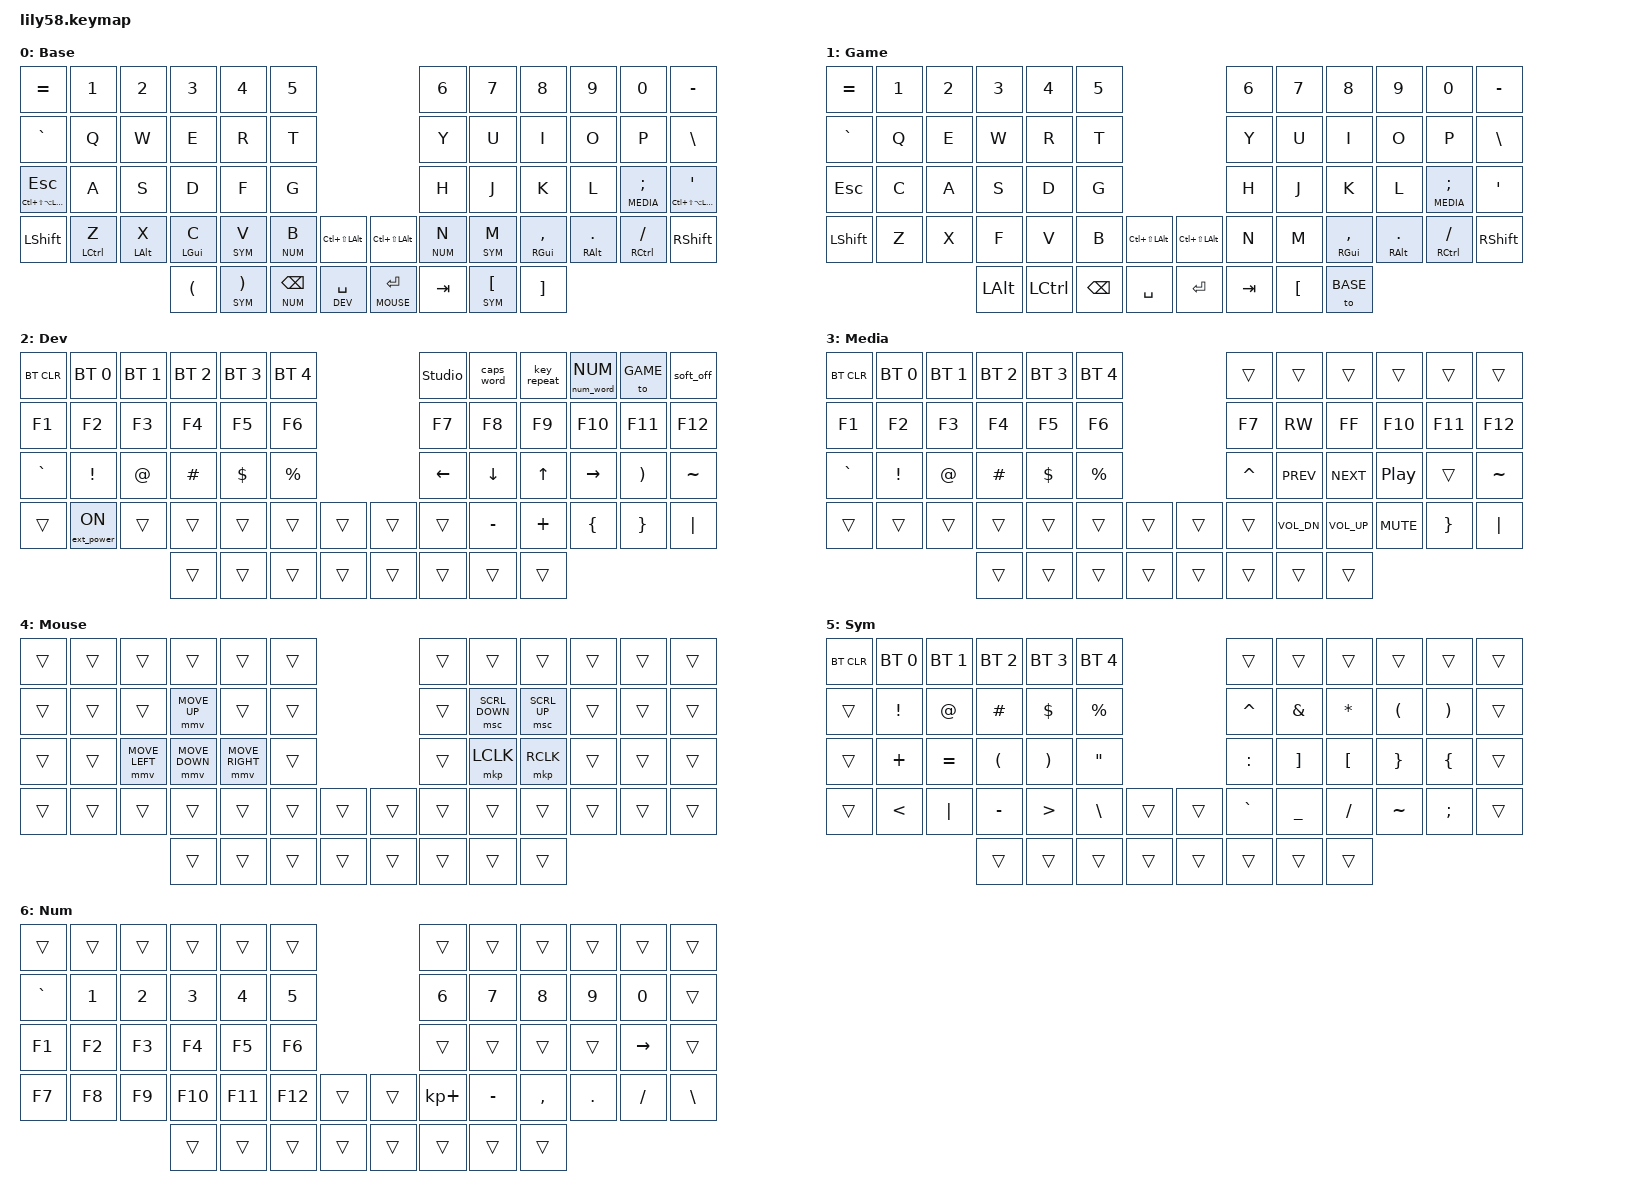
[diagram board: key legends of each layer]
/*
 * Copyright (c) 2020 The ZMK Contributors
 *
 * SPDX-License-Identifier: MIT
 */

/*
 * Allium58 (lily58 shield) -- kept deliberately in sync with the QMK
 * dactyl_manuform 5x6 keymap in blakedietz/qmk_userspace.
 *
 * WHY THE TWO DIVERGE AT ALL: the dactyl's LAYOUT_5x6 is 64 keys (32 a side:
 * 4 rows of 6, plus 2 inner, plus 6 thumb), this board is 58 (29 a side: 3
 * rows of 6, a row of 7, plus 4 thumb). The 6-key deficit understates it --
 * the grid actually GAINS one key a side here, and the whole loss lands on
 * the thumbs, 8 a side down to 4. That is the source of nearly every
 * difference below: symbols and numbers live on the dactyl's base layer but
 * need layers of their own here, and the layer taps that the dactyl parks on
 * dedicated thumb keys have to ride on letters and existing thumbs instead.
 *
 * QMK feature -> ZMK equivalent, so the two configs can be reasoned about
 * together:
 *
 *   CHORDAL_HOLD              -> hold-trigger-key-positions PLUS
 *                                hold-trigger-on-release on hml/hmr (both
 *                                express "only hold if the key that follows
 *                                is on the other hand"; the second property
 *                                is what also allows same-hand mod stacks)
 *   FLOW_TAP_TERM 150         -> require-prior-idle-ms = <125>
 *   QUICK_TAP_TERM (on by     -> quick-tap-ms (OFF by default in ZMK --
 *     default in QMK)            this is why backspace needed ltq below)
 *   MOUSEKEY_* speed tuning   -> not a keymap concern in ZMK; set on the
 *                                input listener / CONFIG_ZMK_POINTING
 *
 * FORMATTING: the bindings grids below are aligned by qmk.nvim on save
 * (variant = "zmk"); the 14-column lily58 layout lives in
 * lua/plugins/qmk.nvim.lua in the nvim config. It rewrites each
 * `bindings = < ... >` block from the parsed behaviors, so a commented-out
 * binding INSIDE one of those blocks is dropped on save -- comment things
 * out between the layer nodes instead, as these blocks do.
 * Outside Neovim: nvim --headless config/lily58.keymap -c 'write' -c 'qa'
 */

#include <behaviors.dtsi>
#include <dt-bindings/zmk/keys.h>
#include <dt-bindings/zmk/bt.h>
#include <dt-bindings/zmk/ext_power.h>
#include <dt-bindings/zmk/pointing.h>

/*
 * &num_word -- from the zmk-auto-layer module (see config/west.yml). Not part
 * of upstream ZMK, so this include only resolves once that module is in the
 * manifest. Its shipped definition is:
 *
 *   continue-list = <BACKSPACE DELETE DOT COMMA PLUS MINUS STAR FSLH EQUAL>;
 *   ignore-numbers;
 *
 * overridden just below.
 */
#include <behaviors/num_word.dtsi>

#define HYPER LC(LS(LA(LGUI)))
#define MEH   LC(LS(LALT))

/*
 * DECISION: layers 0-4 are a 1:1 mirror of QMK -- same names AND same
 * indices -- so the two keymaps can be read side by side without a
 * translation table:
 *
 *     QMK _BASE  0 == BASE  0        QMK _MEDIA 3 == MEDIA 3
 *     QMK _GAME  1 == GAME  1        QMK _MOUSE 4 == MOUSE 4
 *     QMK _DEV   2 == DEV   2
 *
 * SYM and NUM have no QMK counterpart, so they are appended at 5-6 rather
 * than interleaved -- that keeps the shared indices stable if either side
 * grows a layer later.
 *
 * NOTE: in ZMK the layer index is the ORDER OF THE NODES in the keymap
 * block below, not the value of these defines. The two must be kept in
 * agreement by hand; the defines are only names for the bindings.
 */
#define BASE  0
#define GAME  1
#define DEV   2
#define MEDIA 3
#define MOUSE 4
#define SYM   5
#define NUM   6

/*
 * DECISION: the global &lt override sets tapping-term ONLY -- deliberately
 * no quick-tap-ms here. Space is `&lt DEV SPACE`, and a global quick-tap
 * would force a literal space (swallowing the DEV layer) any time the key
 * is held within quick-tap-ms of the previous space. Keys that genuinely
 * want quick-tap opt in via &ltq instead.
 */
&lt {
    tapping-term-ms = <200>;
};

/*
 * DECISION: soft-off must be HELD, not tapped. It sits on the DEV layer,
 * and DEV is reached by holding space (`&lt DEV SPACE`) -- so any stray
 * hold-space + keypress was one tap away from powering the board down.
 * hold-time-ms means the key has to be held the full duration before the
 * release triggers; a bumped tap does nothing.
 */
&soft_off {
    hold-time-ms = <5000>;
};

/*
 * DECISION: KP_PLUS added to the stock continue-list. The module's default
 * list carries PLUS (= LS(EQUAL)), but NUM position 44 is `&kp KP_PLUS` --
 * the KEYPAD plus, a different HID usage entirely. Without this line, typing
 * `12+34` would drop out of the layer the instant you hit +.
 *
 * The rest of the stock list is kept as-is and all of it is reachable, some
 * of it by fall-through: NUM leaves position 0 as &trans, so EQUAL comes from
 * BASE, and STAR/PLUS resolve as shifted N8/EQUAL (the behavior tests implicit
 * modifiers, so the shifted forms match).
 *
 * NOT added: SPACE, RET, TAB. Those are how you LEAVE the layer.
 */
&num_word {
    continue-list = <BACKSPACE DELETE DOT COMMA PLUS KP_PLUS MINUS STAR FSLH EQUAL>;
};

/ {

    behaviors {
        /*
         * hml / hmr -- home row mods. Together these are ZMK's answer to
         * QMK's CHORDAL_HOLD: a mod only engages if the key that FOLLOWS is
         * on the opposite hand, so same-hand rolls like `zx` emit letters
         * instead of Ctrl-X. QMK derives handedness from the matrix half
         * (see chordal_hold_handedness() in keymap.c); ZMK has no such
         * helper, so the opposite hand is enumerated by key position.
         *
         * require-prior-idle-ms = 125 mirrors QMK's FLOW_TAP_TERM 150: if
         * you were already typing, the key resolves as a tap immediately
         * and never as a mod.
         *
         * DECISION: hold-trigger-on-release is the other half of
         * CHORDAL_HOLD, and without it these were NOT equivalent. Bare
         * hold-trigger-key-positions decides at PRESS time, so holding
         * `&hml LGUI C` and then reaching for `&hml LALT X` -- both left
         * hand, so 38 is not in C's list -- resolved C to a literal `c` the
         * instant X went down. That made every same-hand mod STACK
         * unreachable: Cmd+Opt+I, Ctrl+Alt+Del, and Hyper (on ESC/SQT)
         * plus any other mod on its own hand. Only Ctrl+Shift survived,
         * and only because Shift is a plain &kp rather than a hold-tap.
         *
         * Setting it defers the decision for non-listed keys to RELEASE
         * instead, so the pair waits to see whether an opposite-hand key
         * eventually follows -- which is what QMK does natively. The idle
         * guard above is what keeps the deferral from costing anything
         * while typing: a mid-word roll has already been forced to a tap
         * before this ever applies, so it only governs deliberate chords.
         */
        hml: home_row_mod_left {
            compatible = "zmk,behavior-hold-tap";
            #binding-cells = <2>;
            quick-tap-ms = <200>;
            require-prior-idle-ms = <125>;
            tapping-term-ms = <200>;
            flavor = "balanced";
            bindings = <&kp>, <&kp>;
            // right hand (6-11,18-23,30-35,43-49) + both thumb clusters (50-57)
            hold-trigger-key-positions = <6 7 8 9 10 11 18 19 20 21 22 23 30 31 32 33 34 35 43 44 45 46 47 48 49 50 51 52 53 54 55 56 57>;
            hold-trigger-on-release;
        };

        hmr: home_row_mod_right {
            compatible = "zmk,behavior-hold-tap";
            #binding-cells = <2>;
            quick-tap-ms = <200>;
            require-prior-idle-ms = <125>;
            tapping-term-ms = <200>;
            flavor = "balanced";
            bindings = <&kp>, <&kp>;
            // left hand (0-5,12-17,24-29,36-42) + both thumb clusters (50-57)
            hold-trigger-key-positions = <0 1 2 3 4 5 12 13 14 15 16 17 24 25 26 27 28 29 36 37 38 39 40 41 42 50 51 52 53 54 55 56 57>;
            hold-trigger-on-release;
        };

        /*
         * rpl -- same idle guard as the home row mods, but the hold engages
         * a LAYER instead of a modifier. Used for the layer taps that sit on
         * letter keys, where a stray hold mid-word would be most disruptive.
         */
        rpl: require_prior_idle_layer {
            compatible = "zmk,behavior-hold-tap";
            #binding-cells = <2>;
            quick-tap-ms = <200>;
            require-prior-idle-ms = <125>;
            tapping-term-ms = <200>;
            flavor = "balanced";
            bindings = <&mo>, <&kp>;
        };

        /*
         * ltq -- identical to the built-in &lt (tap-preferred, 200ms term)
         * but with quick-tap enabled. Tap the key, then press it again
         * within quick-tap-ms and the SECOND press is forced to the tap
         * behavior and held down, so the host's key repeat streams the
         * keycode instead of the layer engaging.
         *
         * This is ZMK's equivalent of QMK's QUICK_TAP_TERM -- the
         * tap-then-tap-and-hold trick for backspace. QMK enables it by
         * default; ZMK's quick-tap-ms defaults to -1 (disabled), which is
         * why this had to be spelled out.
         *
         * DECISION: no require-prior-idle-ms here, unlike rpl above. Idle
         * guarding would force a tap whenever you reach for the key right
         * after typing -- which for backspace is precisely the common case,
         * and would make the layer hold unreachable.
         */
        ltq: layer_tap_quick {
            compatible = "zmk,behavior-hold-tap";
            #binding-cells = <2>;
            quick-tap-ms = <200>;
            tapping-term-ms = <200>;
            flavor = "tap-preferred";
            bindings = <&mo>, <&kp>;
        };

        /*
         * htl -- hold-to-switch-layer, for the LBKT+RBKT combos below. A
         * combo fires the instant its keys go down, and `&to` is a sticky,
         * whole-left-hand change in either direction; firing one on a fast
         * `[]` roll -- or dropping out of GAME mid-fight -- would be
         * miserable. Wrapping it in a hold-tap means the combo only commits
         * after the keys are held the full term.
         *
         * DECISION: tap-preferred, not hold-preferred. hold-preferred
         * resolves to the hold as soon as ANY other key is pressed, which
         * would re-open exactly the accident this is meant to prevent --
         * only the timer may decide. The tap side is &none (dummy param 0
         * in the keymap): a quick both-press is a no-op, not a stray key.
         */
        htl: hold_to_layer {
            compatible = "zmk,behavior-hold-tap";
            #binding-cells = <2>;
            tapping-term-ms = <400>;
            flavor = "tap-preferred";
            bindings = <&to>, <&none>;
        };
    };

    /*
     * LBKT + RBKT (positions 56/57, the two outer right thumbs) held
     * together toggles between BASE and GAME -- the SAME gesture in both
     * directions, so it is one thumb position to remember rather than a
     * chord in and a different key out.
     *
     * `&to GAME` on DEV's top row still stands as the discoverable route in;
     * these combos are the fast ones. The dactyl has a spare thumb key for
     * TO(_GAME) and this board does not, which is why DEV carried it at all.
     *
     * DECISION: two nodes scoped with `layers`, not one unscoped combo. The
     * binding has to differ by direction (&to GAME vs &to BASE), and an
     * unscoped combo would also fire on DEV/MEDIA/SYM/NUM where these
     * positions are &trans.
     *
     * DECISION: `&to BASE` STAYS on GAME position 57 as a single-tap escape
     * hatch, so the combo is not the only way out of a layer that has no
     * other layer access at all. Drop it to &kp RBKT once the combo is
     * confirmed working on hardware, if the plain key is wanted back.
     *
     * DECISION: require-prior-idle-ms on the BASE->GAME direction only. On
     * BASE these keys are `[` and `]`, so the idle guard is what keeps a
     * typed `[]` roll out of the combo; 50ms then means anything surviving
     * that has to be a deliberate simultaneous press. On GAME the same guard
     * would be actively wrong -- you are pressing keys constantly, so it
     * would make the way out unreachable exactly when it is wanted. The
     * 400ms hold in &htl above is the backstop in both directions.
     */
    combos {
        compatible = "zmk,combos";

        combo_game {
            bindings = <&htl GAME 0>;
            key-positions = <56 57>;
            layers = <BASE>;
            timeout-ms = <50>;
            require-prior-idle-ms = <125>;
        };

        combo_base {
            bindings = <&htl BASE 0>;
            key-positions = <56 57>;
            layers = <GAME>;
            timeout-ms = <50>;
        };
    };

    keymap {
        compatible = "zmk,keymap";

        /*
         * Layer 0 -- QMK _BASE.
         *
         * display-name is what the nice_view OLED and ZMK Studio show
         * (CONFIG_ZMK_DISPLAY=y, and the left half builds with
         * -DCONFIG_ZMK_STUDIO=y), so these strings are user-facing, not
         * just documentation.
         *
         * THUMB ROW, against the dactyl's right thumb cluster:
         *
         *     QMK TGL_MOUSE = LT(_MOUSE, KC_ENT)  ==  &lt MOUSE RET
         *     QMK KC_TAB                          ==  &kp TAB
         *     QMK KC_LBRC                         ==  &lt SYM LBKT
         *     QMK KC_RBRC                         ==  &kp RBKT
         *
         * DECISION: Enter carries the mouse layer, matching QMK. Tab was
         * NOT moved to get there -- Enter was already the layer-tap in that
         * position and was simply repointed from the old RAISE layer.
         *
         * DECISION: Enter stays on plain &lt, not &ltq. Backspace wants
         * tap-then-hold repeat; a repeating Enter key is mostly a way to
         * fire off blank lines by accident. Swap to `&ltq MOUSE RET` if
         * that turns out to be wanted.
         *
         * The SYM hold on LBKT has no QMK counterpart -- it is one of the
         * layer taps this board needs and the dactyl does not.
         */
        base_layer {
            display-name = "Base";
            bindings = <
  &kp EQUAL        &kp N1         &kp N2        &kp N3        &kp N4         &kp N5                                          &kp N6       &kp N7         &kp N8            &kp N9          &kp N0            &kp MINUS
  &kp GRAVE        &kp Q          &kp W         &kp E         &kp R          &kp T                                           &kp Y        &kp U          &kp I             &kp O           &kp P             &kp BSLH
  &hml HYPER ESC   &kp A          &kp S         &kp D         &kp F          &kp G                                           &kp H        &kp J          &kp K             &kp L           &rpl MEDIA SEMI   &hmr HYPER SQT
  &kp LSHFT        &hml LCTRL Z   &hml LALT X   &hml LGUI C   &rpl SYM V     &rpl NUM B      &kp MEH         &kp MEH         &rpl NUM N   &rpl SYM M     &hmr RGUI COMMA   &hmr RALT DOT   &hmr RCTRL FSLH   &kp RSHFT
                                                &kp LPAR      &lt SYM RPAR   &ltq NUM BSPC   &lt DEV SPACE   &lt MOUSE RET   &kp TAB      &lt SYM LBKT   &kp RBKT
            >;
        };

        /*
         * Layer 1 -- QMK _GAME. Transcribed from keymap.c:45-52.
         *
         * *** THE LEFT-HAND ALPHAS ARE INTENTIONALLY REARRANGED. ***
         * *** DO NOT "CORRECT" THEM BACK TO QWERTY ORDER.        ***
         *
         * The WASD cross is shifted one column right of its QWERTY home:
         *
         *            col1(pinky) col2(ring) col3(mid) col4(index)
         *   BASE r2:     Q          W          E         R
         *   BASE r3:     A          S          D         F
         *   GAME r2:     Q          E          W         R
         *   GAME r3:     C          A          S         D
         *
         * On BASE, WASD lands on pinky/ring/middle and leaves the index
         * finger idle. On GAME it lands on ring/middle/index -- the three
         * strong fingers -- and frees the pinky for Shift. C takes the
         * vacated pinky home slot; F drops to row3 col3. The payoff is that
         * games can keep their stock WASD bindings: the ergonomics come
         * from the firmware, so no game needs individual remapping.
         *
         * Everything else follows the dactyl: home row mods and thumb
         * layer taps drop to plain keys so held keys register with no
         * tapping-term latency, and the RIGHT hand keeps its mods (as QMK
         * does) since only the left hand is on WASD.
         *
         * DECISION: entered via `&to GAME` on the DEV layer, not from BASE.
         * QMK puts TO(_GAME) on a dedicated thumb key and this board has no
         * spare one -- all 4 right thumbs are already assigned. `&to BASE`
         * on the right thumb is the way out, matching QMK's TO(_BASE).
         *
         * Both directions also have the LBKT+RBKT hold combo (positions
         * 56/57) -- see the combos node above. That is the symmetric route;
         * the `&to BASE` tap on 57 is kept as a single-key escape hatch.
         *
         * GAP: QMK puts QK_LOCK on both thumb clusters here (hold a key
         * without holding it -- lock W for auto-run, etc). ZMK has no
         * built-in equivalent; &sk covers modifiers only, not arbitrary
         * keys. Those two positions carry BSPC/SPACE and RET/TAB instead.
         */
        game_layer {
            display-name = "Game";
            bindings = <
  &kp EQUAL   &kp N1   &kp N2   &kp N3     &kp N4      &kp N5                           &kp N6    &kp N7     &kp N8            &kp N9          &kp N0            &kp MINUS
  &kp GRAVE   &kp Q    &kp E    &kp W      &kp R       &kp T                            &kp Y     &kp U      &kp I             &kp O           &kp P             &kp BSLH
  &kp ESC     &kp C    &kp A    &kp S      &kp D       &kp G                            &kp H     &kp J      &kp K             &kp L           &rpl MEDIA SEMI   &kp SQT
  &kp LSHFT   &kp Z    &kp X    &kp F      &kp V       &kp B      &kp MEH     &kp MEH   &kp N     &kp M      &hmr RGUI COMMA   &hmr RALT DOT   &hmr RCTRL FSLH   &kp RSHFT
                                &kp LALT   &kp LCTRL   &kp BSPC   &kp SPACE   &kp RET   &kp TAB   &kp LBKT   &to BASE
            >;
        };

        /*
         * Layer 2 -- QMK _DEV. Arrows on the right home row and F-keys on
         * the left, matching the dactyl.
         *
         * The board-management keys (studio_unlock, soft_off, ext_power,
         * bluetooth) are ZMK-only -- wireless concerns the dactyl does not
         * have. `&to GAME` sits here on the top row because the thumb
         * cluster is full; see the GAME layer note above.
         *
         * DECISION: only `&ext_power EP_ON` lives here -- EP_OFF and EP_TOG
         * are gone from this layer and from MEDIA. On this board the
         * switched rail (nice!nano v2 P0.13) feeds exactly one thing, the
         * nice!view, and there is no underglow to save power on. So EP_OFF
         * could only ever blank the display -- and ZMK persists ext-power
         * state to settings (`ext_power/state`), so a stray press survived
         * every reboot and the screen stayed dead until a settings_reset
         * flash. EP_ON is kept as the recovery key for exactly that case.
         *
         * soft_off moved off position 9 (a digit you hold-space past all
         * the time) to the far-right pinky, and now requires a 5s hold --
         * see the &soft_off override at the top of this file.
         *
         * `&num_word NUM` now occupies the position 9 that soft_off vacated.
         * It is the tap-once counterpart to the three HOLDS that already
         * reach NUM (`&rpl NUM B`, `&rpl NUM N`, `&ltq NUM BSPC`): tap it,
         * type a run of digits, and the layer drops itself on the first key
         * outside the continue-list -- caps_word, two keys to its left, is
         * the exact same idea for shift. Tapping it again while active
         * toggles it back off.
         *
         * DECISION: parked on DEV rather than on a base-layer key or a
         * combo. Every base key and all 4 right thumbs are already spoken
         * for, DEV is one space-hold away, and sitting beside caps_word
         * makes it self-documenting. Releasing space afterwards does NOT
         * cancel the layer -- the module's listener ignores key RELEASES
         * (`if (ev == NULL || !ev->state) return ZMK_EV_EVENT_BUBBLE;`), and
         * a resolved `&lt DEV SPACE` hold emits no SPACE keycode at all.
         */
        dev_layer {
            display-name = "Dev";
            bindings = <
  &bt BT_CLR   &bt BT_SEL 0       &bt BT_SEL 1   &bt BT_SEL 2   &bt BT_SEL 3   &bt BT_SEL 4                     &studio_unlock   &caps_word   &key_repeat   &num_word NUM   &to GAME   &soft_off
  &kp F1       &kp F2             &kp F3         &kp F4         &kp F5         &kp F6                           &kp F7           &kp F8       &kp F9        &kp F10         &kp F11    &kp F12
  &kp GRAVE    &kp EXCL           &kp AT         &kp HASH       &kp DOLLAR     &kp PRCNT                        &kp LEFT         &kp DOWN     &kp UP        &kp RIGHT       &kp RPAR   &kp TILDE
  &trans       &ext_power EP_ON   &trans         &trans         &trans         &trans         &trans   &trans   &trans           &kp MINUS    &kp PLUS      &kp LBRC        &kp RBRC   &kp PIPE
                                                 &trans         &trans         &trans         &trans   &trans   &trans           &trans       &trans
            >;
        };

        /*
         * Layer 3 -- QMK _MEDIA. Transport and volume on the right home and
         * bottom rows, as on the dactyl. Reached by holding SEMI, which is
         * where QMK puts TGL_MEDIA = LT(_MEDIA, KC_SCLN).
         */
        media_layer {
            display-name = "Media";
            bindings = <
  &bt BT_CLR   &bt BT_SEL 0   &bt BT_SEL 1   &bt BT_SEL 2   &bt BT_SEL 3   &bt BT_SEL 4                     &trans      &trans         &trans         &trans             &trans     &trans
  &kp F1       &kp F2         &kp F3         &kp F4         &kp F5         &kp F6                           &kp F7      &kp C_RW       &kp C_FF       &kp F10            &kp F11    &kp F12
  &kp GRAVE    &kp EXCL       &kp AT         &kp HASH       &kp DOLLAR     &kp PRCNT                        &kp CARET   &kp C_PREV     &kp C_NEXT     &kp C_PLAY_PAUSE   &trans     &kp TILDE
  &trans       &trans         &trans         &trans         &trans         &trans         &trans   &trans   &trans      &kp K_VOL_DN   &kp K_VOL_UP   &kp K_MUTE         &kp RBRC   &kp PIPE
                                             &trans         &trans         &trans         &trans   &trans   &trans      &trans         &trans
            >;
        };

        /*
         * Layer 4 -- QMK _MOUSE.
         *
         * DECISION: key-for-key the same positions the dactyl uses --
         * move on ESDF, scroll on UI, click on JK -- so muscle memory
         * carries between the two boards. These bindings used to be mixed
         * into the old RAISE layer alongside numbers and F-keys; splitting
         * them out is what made a 1:1 mapping possible.
         *
         * GAP: QMK's MS_ACL0/1/2 acceleration keys on M / , / . have no
         * ZMK equivalent. ZMK sets pointer speed on the input listener
         * rather than with runtime keycodes, so those three positions are
         * left &trans rather than faked.
         */
        mouse_layer {
            display-name = "Mouse";
            bindings = <
  &trans   &trans   &trans           &trans           &trans            &trans                     &trans   &trans           &trans         &trans   &trans   &trans
  &trans   &trans   &trans           &mmv MOVE_UP     &trans            &trans                     &trans   &msc SCRL_DOWN   &msc SCRL_UP   &trans   &trans   &trans
  &trans   &trans   &mmv MOVE_LEFT   &mmv MOVE_DOWN   &mmv MOVE_RIGHT   &trans                     &trans   &mkp LCLK        &mkp RCLK      &trans   &trans   &trans
  &trans   &trans   &trans           &trans           &trans            &trans   &trans   &trans   &trans   &trans           &trans         &trans   &trans   &trans
                                     &trans           &trans            &trans   &trans   &trans   &trans   &trans           &trans
            >;
        };

        /*
         * Layer 5 -- ZMK-only, no QMK counterpart.
         *
         * Symbols. The dactyl has the physical keys to keep these on its
         * base layer; at 58 keys this board does not, so they get a layer.
         * Held from either the V key or the left/right outer thumbs.
         */
        sym_layer {
            display-name = "Sym";
            bindings = <
  &bt BT_CLR   &bt BT_SEL 0   &bt BT_SEL 1   &bt BT_SEL 2   &bt BT_SEL 3   &bt BT_SEL 4                     &trans      &trans      &trans      &trans      &trans     &trans
  &trans       &kp EXCL       &kp AT         &kp HASH       &kp DOLLAR     &kp PRCNT                        &kp CARET   &kp AMPS    &kp ASTRK   &kp LPAR    &kp RPAR   &trans
  &trans       &kp PLUS       &kp EQUAL      &kp LPAR       &kp RPAR       &kp DQT                          &kp COLON   &kp RBKT    &kp LBKT    &kp RBRC    &kp LBRC   &trans
  &trans       &kp LT         &kp PIPE       &kp MINUS      &kp GT         &kp BSLH       &trans   &trans   &kp GRAVE   &kp UNDER   &kp FSLH    &kp TILDE   &kp SEMI   &trans
                                             &trans         &trans         &trans         &trans   &trans   &trans      &trans      &trans
            >;
        };

        /*
         * Layer 6 -- ZMK-only, no QMK counterpart.
         *
         * Numbers and F-keys, same reasoning as SYM. Held from the B/N keys
         * or the left inner thumb (which is also the quick-tap backspace),
         * or TAPPED into via `&num_word NUM` on DEV position 9 -- see the
         * DEV layer note and the &num_word override at the top of the file.
         *
         * NOTE: N3 and F3-F5 were restored here when the mouse bindings
         * moved out to the MOUSE layer -- they had been displaced by
         * mmv/mkp keys squatting on those positions.
         *
         * DECISION: positions 46/47/48 are COMMA/DOT/FSLH, matching the
         * SAME three positions on BASE. This layer previously had no `.` or
         * `,` anywhere on it, which is survivable when NUM is a momentary
         * hold but not once `&num_word NUM` makes it a mode you sit in --
         * `3.14`, `1,234` and `9/16` were all untypable without dropping
         * out. Putting them where BASE already has them means no second set
         * of muscle memory, and it lines up with the continue-list, which
         * carries DOT/COMMA/FSLH precisely so they do not end the run.
         *
         * The EQUAL/LBKT/RBKT they displaced all survive by fall-through --
         * positions 0, 56 and 57 are &trans on this layer, so they resolve
         * to BASE's `&kp EQUAL`, `&lt SYM LBKT` (tap) and `&kp RBKT`.
         * Nothing was actually lost from the layer.
         */
        num_layer {
            display-name = "Num";
            bindings = <
  &trans      &trans   &trans   &trans    &trans    &trans                      &trans        &trans      &trans      &trans    &trans      &trans
  &kp GRAVE   &kp N1   &kp N2   &kp N3    &kp N4    &kp N5                      &kp N6        &kp N7      &kp N8      &kp N9    &kp N0      &trans
  &kp F1      &kp F2   &kp F3   &kp F4    &kp F5    &kp F6                      &trans        &trans      &trans      &trans    &kp RIGHT   &trans
  &kp F7      &kp F8   &kp F9   &kp F10   &kp F11   &kp F12   &trans   &trans   &kp KP_PLUS   &kp MINUS   &kp COMMA   &kp DOT   &kp FSLH    &kp BSLH
                                &trans    &trans    &trans    &trans   &trans   &trans        &trans      &trans
            >;
        };
    };
};
